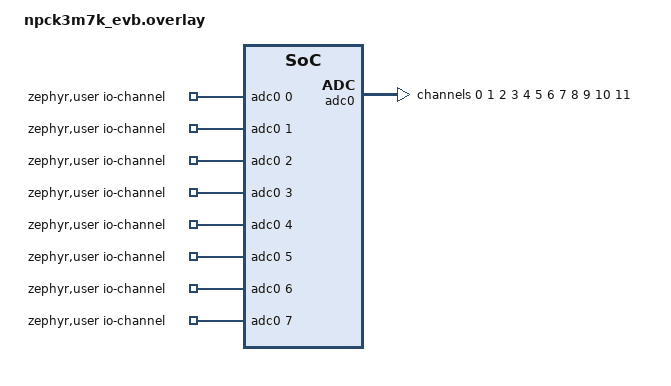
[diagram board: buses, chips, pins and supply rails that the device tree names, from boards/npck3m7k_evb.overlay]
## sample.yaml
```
sample:
  description: ADC sample, the simplest Zephyr application
  name: ADC
common:
    tags: introduction
    integration_platforms:
      - npck3m7k_evb/npcx4m8f_evb
    harness: console
    harness_config:
      type: multi_line
      regex:

tests:
  sample.board.npcx_evb:
    tags: adc
    filter: CONFIG_ADC_ASYNC
    harness: console
```

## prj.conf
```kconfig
CONFIG_SERIAL=y
CONFIG_NATIVE_UART_0_ON_STDINOUT=y
CONFIG_PRINTK=y
CONFIG_UART_INTERRUPT_DRIVEN=y
CONFIG_SHELL=y
CONFIG_SHELL_PROMPT_UART="ec:~$ "
CONFIG_LOG=y
CONFIG_EVENTS=y
CONFIG_ADC=y
```

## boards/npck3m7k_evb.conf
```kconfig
# Add your own Kconfig option for npck3m7k_evb here
CONFIG_ADC_ASYNC=y
```

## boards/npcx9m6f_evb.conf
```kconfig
# Add your own Kconfig option for npcx9m6f_evb here
CONFIG_ADC_ASYNC=y
```

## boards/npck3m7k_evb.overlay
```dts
/*
 * Copyright (c) 2023 Nuvoton Technology Corporation.
 *
 * SPDX-License-Identifier: Apache-2.0
 */

/ {
	zephyr,user {
		io-channels = <&adc0 0>, <&adc0 1>, <&adc0 2>, <&adc0 3>, <&adc0 4>, <&adc0 5>,
		              <&adc0 6>, <&adc0 7>, <&adc0 8>, <&adc0 9>, <&adc0 10>, <&adc0 11>;
	};
};



&adc0 {
	#address-cells = <1>;
	#size-cells = <0>;

	status = "okay";
	/* Use adc0 channel 0~11 for 'adc_api' driver tests */
	pinctrl-0 = <&adc0_chan0_gp90
                     &adc0_chan1_gp91
                     &adc0_chan2_gp92
                     &adc0_chan3_gp93
                     &adc0_chan4_gp05
                     &adc0_chan5_gp04
                     &adc0_chan6_gp03
                     &adc0_chan7_gp07
                     &adc0_chan8_gph2
                     &adc0_chan9_gph1
                     &adc0_chan10_gph0
                     &adc0_chan11_gpg7
                     >;
	pinctrl-names = "default";

	channel@0 {
		reg = <0>;
		zephyr,gain = "ADC_GAIN_1";
		zephyr,reference = "ADC_REF_INTERNAL";
		zephyr,vref-mv = <3300>;
		zephyr,acquisition-time = <ADC_ACQ_TIME_DEFAULT>;
		zephyr,resolution = <10>;
	};
	channel@1 {
		reg = <1>;
		zephyr,gain = "ADC_GAIN_1";
		zephyr,reference = "ADC_REF_INTERNAL";
		zephyr,vref-mv = <3300>;
		zephyr,acquisition-time = <ADC_ACQ_TIME_DEFAULT>;
		zephyr,resolution = <10>;
	};
	channel@2 {
		reg = <2>;
		zephyr,gain = "ADC_GAIN_1";
		zephyr,reference = "ADC_REF_INTERNAL";
		zephyr,vref-mv = <3300>;
		zephyr,acquisition-time = <ADC_ACQ_TIME_DEFAULT>;
		zephyr,resolution = <10>;
	};
	channel@3 {
		reg = <3>;
		zephyr,gain = "ADC_GAIN_1";
		zephyr,reference = "ADC_REF_INTERNAL";
		zephyr,vref-mv = <3300>;
		zephyr,acquisition-time = <ADC_ACQ_TIME_DEFAULT>;
		zephyr,resolution = <10>;
	};
	channel@4 {
		reg = <4>;
		zephyr,gain = "ADC_GAIN_1";
		zephyr,reference = "ADC_REF_INTERNAL";
		zephyr,vref-mv = <3300>;
		zephyr,acquisition-time = <ADC_ACQ_TIME_DEFAULT>;
		zephyr,resolution = <10>;
	};
	channel@5 {
		reg = <5>;
		zephyr,gain = "ADC_GAIN_1";
		zephyr,reference = "ADC_REF_INTERNAL";
		zephyr,vref-mv = <3300>;
		zephyr,acquisition-time = <ADC_ACQ_TIME_DEFAULT>;
		zephyr,resolution = <10>;
	};
	channel@6 {
		reg = <6>;
		zephyr,gain = "ADC_GAIN_1";
		zephyr,reference = "ADC_REF_INTERNAL";
		zephyr,vref-mv = <3300>;
		zephyr,acquisition-time = <ADC_ACQ_TIME_DEFAULT>;
		zephyr,resolution = <10>;
	};
	channel@7 {
		reg = <7>;
		zephyr,gain = "ADC_GAIN_1";
		zephyr,reference = "ADC_REF_INTERNAL";
		zephyr,vref-mv = <3300>;
		zephyr,acquisition-time = <ADC_ACQ_TIME_DEFAULT>;
		zephyr,resolution = <10>;
	};
	channel@8 {
		reg = <8>;
		zephyr,gain = "ADC_GAIN_1";
		zephyr,reference = "ADC_REF_INTERNAL";
		zephyr,vref-mv = <3300>;
		zephyr,acquisition-time = <ADC_ACQ_TIME_DEFAULT>;
		zephyr,resolution = <10>;
	};
	channel@9 {
		reg = <9>;
		zephyr,gain = "ADC_GAIN_1";
		zephyr,reference = "ADC_REF_INTERNAL";
		zephyr,vref-mv = <3300>;
		zephyr,acquisition-time = <ADC_ACQ_TIME_DEFAULT>;
		zephyr,resolution = <10>;
	};
	channel@a {
		reg = <10>;
		zephyr,gain = "ADC_GAIN_1";
		zephyr,reference = "ADC_REF_INTERNAL";
		zephyr,vref-mv = <3300>;
		zephyr,acquisition-time = <ADC_ACQ_TIME_DEFAULT>;
		zephyr,resolution = <10>;
	};
	channel@b {
		reg = <11>;
		zephyr,gain = "ADC_GAIN_1";
		zephyr,reference = "ADC_REF_INTERNAL";
		zephyr,vref-mv = <3300>;
		zephyr,acquisition-time = <ADC_ACQ_TIME_DEFAULT>;
		zephyr,resolution = <10>;
	};
};
```

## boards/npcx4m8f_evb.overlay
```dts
/*
 * Copyright (c) 2023 Nuvoton Technology Corporation.
 *
 * SPDX-License-Identifier: Apache-2.0
 */

/ {
	chosen {
		zephyr,shell-uart = &uart1;
	};
};


/ {
	zephyr,user {
		io-channels =<&adc0 0>,  <&adc0 1>,  <&adc0 2>,  <&adc0 3>,  <&adc0 4>,  <&adc0 5>,
		             <&adc0 6>,  <&adc0 7>,  <&adc0 8>,  <&adc0 9>,  <&adc0 10>, <&adc0 11>,
		             <&adc0 12>, <&adc0 13>, <&adc1 14>, <&adc1 15>, <&adc1 16>, <&adc1 17>,
		             <&adc1 18>, <&adc1 19>, <&adc1 20>, <&adc1 21>, <&adc1 22>, <&adc1 23>,
		             <&adc1 24>, <&adc1 25>;
	};
};


&adc0 {
	#address-cells = <1>;
	#size-cells = <0>;

	status = "okay";
	/* Use adc0 channel 0 ~ 13 for 'adc_api' driver tests */
	pinctrl-0 = <&adc0_chan0_gp45
				&adc0_chan1_gp44
				&adc0_chan2_gp43
				&adc0_chan3_gp42
				&adc0_chan4_gp41
				&adc0_chan5_gp37
				&adc0_chan6_gp34
				&adc0_chan7_gpe1
				&adc0_chan8_gpf1
				&adc0_chan9_gpf0
				&adc0_chan10_gpe0
				&adc0_chan11_gpc7
				&adc0_chan12_gp24
				&adc0_chan13_gp26
	>;

	pinctrl-names = "default";

	channel@0 {
		reg = <0>;
		zephyr,gain = "ADC_GAIN_1";
		zephyr,reference = "ADC_REF_INTERNAL";
		zephyr,vref-mv = <2816>;
		zephyr,acquisition-time = <ADC_ACQ_TIME_DEFAULT>;
		zephyr,resolution = <10>;
	};
	channel@1 {
		reg = <1>;
		zephyr,gain = "ADC_GAIN_1";
		zephyr,reference = "ADC_REF_INTERNAL";
		zephyr,vref-mv = <2816>;
		zephyr,acquisition-time = <ADC_ACQ_TIME_DEFAULT>;
		zephyr,resolution = <10>;
	};
	channel@2 {
		reg = <2>;
		zephyr,gain = "ADC_GAIN_1";
		zephyr,reference = "ADC_REF_INTERNAL";
		zephyr,vref-mv = <2816>;
		zephyr,acquisition-time = <ADC_ACQ_TIME_DEFAULT>;
		zephyr,resolution = <10>;
	};
	channel@3 {
		reg = <3>;
		zephyr,gain = "ADC_GAIN_1";
		zephyr,reference = "ADC_REF_INTERNAL";
		zephyr,vref-mv = <2816>;
		zephyr,acquisition-time = <ADC_ACQ_TIME_DEFAULT>;
		zephyr,resolution = <10>;
	};
	channel@4 {
		reg = <4>;
		zephyr,gain = "ADC_GAIN_1";
		zephyr,reference = "ADC_REF_INTERNAL";
		zephyr,vref-mv = <2816>;
		zephyr,acquisition-time = <ADC_ACQ_TIME_DEFAULT>;
		zephyr,resolution = <10>;
	};
	channel@5 {
		reg = <5>;
		zephyr,gain = "ADC_GAIN_1";
		zephyr,reference = "ADC_REF_INTERNAL";
		zephyr,vref-mv = <2816>;
		zephyr,acquisition-time = <ADC_ACQ_TIME_DEFAULT>;
		zephyr,resolution = <10>;
	};
	channel@6 {
		reg = <6>;
		zephyr,gain = "ADC_GAIN_1";
		zephyr,reference = "ADC_REF_INTERNAL";
		zephyr,vref-mv = <2816>;
		zephyr,acquisition-time = <ADC_ACQ_TIME_DEFAULT>;
		zephyr,resolution = <10>;
	};
	channel@7 {
		reg = <7>;
		zephyr,gain = "ADC_GAIN_1";
		zephyr,reference = "ADC_REF_INTERNAL";
		zephyr,vref-mv = <2816>;
		zephyr,acquisition-time = <ADC_ACQ_TIME_DEFAULT>;
		zephyr,resolution = <10>;
	};
	channel@8 {
		reg = <8>;
		zephyr,gain = "ADC_GAIN_1";
		zephyr,reference = "ADC_REF_INTERNAL";
		zephyr,vref-mv = <2816>;
		zephyr,acquisition-time = <ADC_ACQ_TIME_DEFAULT>;
		zephyr,resolution = <10>;
	};
	channel@9 {
		reg = <9>;
		zephyr,gain = "ADC_GAIN_1";
		zephyr,reference = "ADC_REF_INTERNAL";
		zephyr,vref-mv = <2816>;
		zephyr,acquisition-time = <ADC_ACQ_TIME_DEFAULT>;
		zephyr,resolution = <10>;
	};
	channel@a {
		reg = <10>;
		zephyr,gain = "ADC_GAIN_1";
		zephyr,reference = "ADC_REF_INTERNAL";
		zephyr,vref-mv = <2816>;
		zephyr,acquisition-time = <ADC_ACQ_TIME_DEFAULT>;
		zephyr,resolution = <10>;
	};
	channel@b {
		reg = <11>;
		zephyr,gain = "ADC_GAIN_1";
		zephyr,reference = "ADC_REF_INTERNAL";
		zephyr,vref-mv = <2816>;
		zephyr,acquisition-time = <ADC_ACQ_TIME_DEFAULT>;
		zephyr,resolution = <10>;
	};
	channel@c {
		reg = <12>;
		zephyr,gain = "ADC_GAIN_1";
		zephyr,reference = "ADC_REF_INTERNAL";
		zephyr,vref-mv = <2816>;
		zephyr,acquisition-time = <ADC_ACQ_TIME_DEFAULT>;
		zephyr,resolution = <10>;
	};
	channel@d {
		reg = <13>;
		zephyr,gain = "ADC_GAIN_1";
		zephyr,reference = "ADC_REF_INTERNAL";
		zephyr,vref-mv = <2816>;
		zephyr,acquisition-time = <ADC_ACQ_TIME_DEFAULT>;
		zephyr,resolution = <10>;
	};
};



&adc1 {
	#address-cells = <1>;
	#size-cells = <0>;

	status = "okay";
	/* Use adc1 channel 14 ~ 25 for 'adc_api' driver tests */
	pinctrl-0 = <&adc0_chan14_gp27
		     &adc0_chan15_gp31
		     &adc0_chan16_gp62
		     &adc0_chan17_gp63
		     &adc0_chan18_gp67
		     &adc0_chan19_gp70
		     &adc0_chan20_gp22
		     &adc0_chan21_gp23
		     &adc0_chan22_gpc1
		     &adc0_chan23_gp74
		     &adc0_chan24_gp25
		     &adc0_chan25_gp30
	>;

	pinctrl-names = "default";

	channel@e {
		reg = <14>;
		zephyr,gain = "ADC_GAIN_1";
		zephyr,reference = "ADC_REF_INTERNAL";
		zephyr,vref-mv = <3300>;
		zephyr,acquisition-time = <ADC_ACQ_TIME_DEFAULT>;
		zephyr,resolution = <10>;
	};
	channel@f {
		reg = <15>;
		zephyr,gain = "ADC_GAIN_1";
		zephyr,reference = "ADC_REF_INTERNAL";
		zephyr,vref-mv = <3300>;
		zephyr,acquisition-time = <ADC_ACQ_TIME_DEFAULT>;
		zephyr,resolution = <10>;
	};
	channel@10 {
		reg = <16>;
		zephyr,gain = "ADC_GAIN_1";
		zephyr,reference = "ADC_REF_INTERNAL";
		zephyr,vref-mv = <3300>;
		zephyr,acquisition-time = <ADC_ACQ_TIME_DEFAULT>;
		zephyr,resolution = <10>;
	};
	channel@11 {
		reg = <17>;
		zephyr,gain = "ADC_GAIN_1";
		zephyr,reference = "ADC_REF_INTERNAL";
		zephyr,vref-mv = <3300>;
		zephyr,acquisition-time = <ADC_ACQ_TIME_DEFAULT>;
		zephyr,resolution = <10>;
	};
	channel@12 {
		reg = <18>;
		zephyr,gain = "ADC_GAIN_1";
		zephyr,reference = "ADC_REF_INTERNAL";
		zephyr,vref-mv = <3300>;
		zephyr,acquisition-time = <ADC_ACQ_TIME_DEFAULT>;
		zephyr,resolution = <10>;
	};
	channel@13 {
		reg = <19>;
		zephyr,gain = "ADC_GAIN_1";
		zephyr,reference = "ADC_REF_INTERNAL";
		zephyr,vref-mv = <3300>;
		zephyr,acquisition-time = <ADC_ACQ_TIME_DEFAULT>;
		zephyr,resolution = <10>;
	};
	channel@14 {
		reg = <20>;
		zephyr,gain = "ADC_GAIN_1";
		zephyr,reference = "ADC_REF_INTERNAL";
		zephyr,vref-mv = <3300>;
		zephyr,acquisition-time = <ADC_ACQ_TIME_DEFAULT>;
		zephyr,resolution = <10>;
	};
	channel@15 {
		reg = <21>;
		zephyr,gain = "ADC_GAIN_1";
		zephyr,reference = "ADC_REF_INTERNAL";
		zephyr,vref-mv = <3300>;
		zephyr,acquisition-time = <ADC_ACQ_TIME_DEFAULT>;
		zephyr,resolution = <10>;
	};
	channel@16 {
		reg = <22>;
		zephyr,gain = "ADC_GAIN_1";
		zephyr,reference = "ADC_REF_INTERNAL";
		zephyr,vref-mv = <3300>;
		zephyr,acquisition-time = <ADC_ACQ_TIME_DEFAULT>;
		zephyr,resolution = <10>;
	};
	channel@17 {
		reg = <23>;
		zephyr,gain = "ADC_GAIN_1";
		zephyr,reference = "ADC_REF_INTERNAL";
		zephyr,vref-mv = <3300>;
		zephyr,acquisition-time = <ADC_ACQ_TIME_DEFAULT>;
		zephyr,resolution = <10>;
	};
	channel@18 {
		reg = <24>;
		zephyr,gain = "ADC_GAIN_1";
		zephyr,reference = "ADC_REF_INTERNAL";
		zephyr,vref-mv = <3300>;
		zephyr,acquisition-time = <ADC_ACQ_TIME_DEFAULT>;
		zephyr,resolution = <10>;
	};
	channel@19 {
		reg = <25>;
		zephyr,gain = "ADC_GAIN_1";
		zephyr,reference = "ADC_REF_INTERNAL";
		zephyr,vref-mv = <3300>;
		zephyr,acquisition-time = <ADC_ACQ_TIME_DEFAULT>;
		zephyr,resolution = <10>;
	};
};
```

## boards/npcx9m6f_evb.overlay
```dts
/*
 * Copyright (c) 2023 Nuvoton Technology Corporation.
 *
 * SPDX-License-Identifier: Apache-2.0
 */

/ {
	chosen {
		zephyr,shell-uart = &uart1;
	};
};


/ {
	zephyr,user {
		io-channels =<&adc0 0>,  <&adc0 1>,  <&adc0 2>,  <&adc0 3>,  <&adc0 4>,  <&adc0 5>,
		             <&adc0 6>,  <&adc0 7>,  <&adc0 8>,  <&adc0 9>,  <&adc0 10>, <&adc0 11>;
	};
};


&adc0 {
	#address-cells = <1>;
	#size-cells = <0>;

	status = "okay";
	/* Use adc0 channel 0 ~ 11 for 'adc_api' driver tests */
	pinctrl-0 = <&adc0_chan0_gp45
		     &adc0_chan1_gp44
		     &adc0_chan2_gp43
		     &adc0_chan3_gp42
		     &adc0_chan4_gp41
		     &adc0_chan5_gp37
		     &adc0_chan6_gp34
		     &adc0_chan7_gpe1
		     &adc0_chan8_gpf1
		     &adc0_chan9_gpf0
		     &adc0_chan10_gpe0
		     &adc0_chan11_gpc7
	>;

	pinctrl-names = "default";

	channel@0 {
		reg = <0>;
		zephyr,gain = "ADC_GAIN_1";
		zephyr,reference = "ADC_REF_INTERNAL";
		zephyr,vref-mv = <2816>;
		zephyr,acquisition-time = <ADC_ACQ_TIME_DEFAULT>;
		zephyr,resolution = <10>;
	};
	channel@1 {
		reg = <1>;
		zephyr,gain = "ADC_GAIN_1";
		zephyr,reference = "ADC_REF_INTERNAL";
		zephyr,vref-mv = <2816>;
		zephyr,acquisition-time = <ADC_ACQ_TIME_DEFAULT>;
		zephyr,resolution = <10>;
	};
	channel@2 {
		reg = <2>;
		zephyr,gain = "ADC_GAIN_1";
		zephyr,reference = "ADC_REF_INTERNAL";
		zephyr,vref-mv = <2816>;
		zephyr,acquisition-time = <ADC_ACQ_TIME_DEFAULT>;
		zephyr,resolution = <10>;
	};
	channel@3 {
		reg = <3>;
		zephyr,gain = "ADC_GAIN_1";
		zephyr,reference = "ADC_REF_INTERNAL";
		zephyr,vref-mv = <2816>;
		zephyr,acquisition-time = <ADC_ACQ_TIME_DEFAULT>;
		zephyr,resolution = <10>;
	};
	channel@4 {
		reg = <4>;
		zephyr,gain = "ADC_GAIN_1";
		zephyr,reference = "ADC_REF_INTERNAL";
		zephyr,vref-mv = <2816>;
		zephyr,acquisition-time = <ADC_ACQ_TIME_DEFAULT>;
		zephyr,resolution = <10>;
	};
	channel@5 {
		reg = <5>;
		zephyr,gain = "ADC_GAIN_1";
		zephyr,reference = "ADC_REF_INTERNAL";
		zephyr,vref-mv = <2816>;
		zephyr,acquisition-time = <ADC_ACQ_TIME_DEFAULT>;
		zephyr,resolution = <10>;
	};
	channel@6 {
		reg = <6>;
		zephyr,gain = "ADC_GAIN_1";
		zephyr,reference = "ADC_REF_INTERNAL";
		zephyr,vref-mv = <2816>;
		zephyr,acquisition-time = <ADC_ACQ_TIME_DEFAULT>;
		zephyr,resolution = <10>;
	};
	channel@7 {
		reg = <7>;
		zephyr,gain = "ADC_GAIN_1";
		zephyr,reference = "ADC_REF_INTERNAL";
		zephyr,vref-mv = <2816>;
		zephyr,acquisition-time = <ADC_ACQ_TIME_DEFAULT>;
		zephyr,resolution = <10>;
	};
	channel@8 {
		reg = <8>;
		zephyr,gain = "ADC_GAIN_1";
		zephyr,reference = "ADC_REF_INTERNAL";
		zephyr,vref-mv = <2816>;
		zephyr,acquisition-time = <ADC_ACQ_TIME_DEFAULT>;
		zephyr,resolution = <10>;
	};
	channel@9 {
		reg = <9>;
		zephyr,gain = "ADC_GAIN_1";
		zephyr,reference = "ADC_REF_INTERNAL";
		zephyr,vref-mv = <2816>;
		zephyr,acquisition-time = <ADC_ACQ_TIME_DEFAULT>;
		zephyr,resolution = <10>;
	};
	channel@a {
		reg = <10>;
		zephyr,gain = "ADC_GAIN_1";
		zephyr,reference = "ADC_REF_INTERNAL";
		zephyr,vref-mv = <2816>;
		zephyr,acquisition-time = <ADC_ACQ_TIME_DEFAULT>;
		zephyr,resolution = <10>;
	};
	channel@b {
		reg = <11>;
		zephyr,gain = "ADC_GAIN_1";
		zephyr,reference = "ADC_REF_INTERNAL";
		zephyr,vref-mv = <2816>;
		zephyr,acquisition-time = <ADC_ACQ_TIME_DEFAULT>;
		zephyr,resolution = <10>;
	};
};
```

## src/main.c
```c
/*
 * Copyright (c) 2012-2014 Wind River Systems, Inc.
 *
 * SPDX-License-Identifier: Apache-2.0
 */
#include <stdlib.h>
#include <zephyr/device.h>
#include <zephyr/drivers/adc.h>
#include <zephyr/kernel.h>
#include <zephyr/shell/shell.h>

#define LOG_LEVEL LOG_LEVEL_INF
#include <zephyr/logging/log.h>
LOG_MODULE_REGISTER(main);

#define DT_SPEC_AND_COMMA(node_id, prop, idx)                                  \
	ADC_DT_SPEC_GET_BY_IDX(node_id, idx),
#define TASK_STACK_SIZE 1024
#define PRIORITY 7
#define MAX_ARGUMNETS 3
#define MAX_ARGU_SIZE 10
#define ADC_3300VFS_ACCURACY 25
#define ADC_2816VFS_ACCURACY_RANGE_LOW 20
#define ADC_2816VFS_ACCURACY_RANGE_HIGH 30
#define ADC_VOLTAGE_REFERENCE_3300 3300
#define ADC_VOLTAGE_REFERENCE_2816 2816

static struct k_thread temp_id;
K_THREAD_STACK_DEFINE(temp_stack, TASK_STACK_SIZE);

static uint8_t arguments[MAX_ARGUMNETS][MAX_ARGU_SIZE];

struct k_event adc_event;

/* Data of ADC io-channels specified in devicetree. */
static const struct adc_dt_spec adc_channels[] = {
	DT_FOREACH_PROP_ELEM(DT_PATH(zephyr_user), io_channels, DT_SPEC_AND_COMMA)};

int16_t buf;
int ret;

static int adc_init(void)
{
	int err;
	/* Configure channels individually prior to sampling. */
	for (size_t i = 0U; i < ARRAY_SIZE(adc_channels); i++) {
		if (!device_is_ready(adc_channels[i].dev)) {
			LOG_INF("ADC controller device %s not ready\n",
				adc_channels[i].dev->name);
			return 0;
		}

		err = adc_channel_setup_dt(&adc_channels[i]);
		if (err < 0) {
			LOG_INF("Could not setup channel #%d (%d)\n", i, err);
			return 0;
		}
		LOG_INF("%s ADC channel %d\n", adc_channels[i].dev->name,
			adc_channels[i].channel_id);
	}
	return 1;
}

static void adc_read_func(char *channel)
{
	int i;

	i = atoi(channel);

	struct adc_sequence sequence = {
		.buffer = &buf,
		.buffer_size = sizeof(buf),
	};

	ret = adc_sequence_init_dt(&adc_channels[i], &sequence);
	if (ret) {
		LOG_INF("[FAIL] ADC sequence init\n");
	}

	ret = adc_read(adc_channels[i].dev, &sequence);
	if (ret) {
		LOG_INF("[FAIL] ADC module read\n");
	}

	LOG_INF("%s ADC channel %d\n", adc_channels[i].dev->name,
		adc_channels[i].channel_id);
	LOG_INF("Sample value: %x\n", buf);
}

#ifdef CONFIG_ADC_ASYNC
static void adc_read_async_all(void)
{
	struct adc_sequence sequence = {
		.buffer = &buf,
		.buffer_size = sizeof(buf),
	};

	for (size_t i = 0U; i < ARRAY_SIZE(adc_channels); i++) {
		ret = adc_sequence_init_dt(&adc_channels[i], &sequence);
		if (ret) {
			LOG_INF("[FAIL] ADC sequence init\n");
		}

		ret = adc_read_async(adc_channels[i].dev, &sequence, NULL);

		if (ret) {
			LOG_INF("[FAIL] ADC module read\n");
		}

		LOG_INF("%s ADC channel %d\n", adc_channels[i].dev->name,
			adc_channels[i].channel_id);
		LOG_INF("Sample value: %x\n", buf);
	}
}
#endif

static void adc_read_read_all(void)
{
	struct adc_sequence sequence = {
		.buffer = &buf,
		.buffer_size = sizeof(buf),
	};

	for (size_t i = 0U; i < ARRAY_SIZE(adc_channels); i++) {
		ret = adc_sequence_init_dt(&adc_channels[i], &sequence);
		if (ret) {
			LOG_INF("[FAIL] ADC sequence init\n");
		}

		ret = adc_read(adc_channels[i].dev, &sequence);
		if (ret) {
			LOG_INF("[FAIL] ADC module read\n");
		}

		LOG_INF("%s ADC channel %d\n", adc_channels[i].dev->name,
			adc_channels[i].channel_id);
		LOG_INF("Sample value %x\n", buf);
	}
}


static void adc_check_conversion_result(char *input, char *channel)
{
	int ch;
	int err;
	int input_signal;
	int32_t vref_mv;
	int32_t ch_dat;

	ch = atoi(channel);

	/* input voltage */
	input_signal = atoi(input);

	/* channel data */
	ch_dat = (int32_t)buf;

	/* voltage reference */
	vref_mv = adc_channels[ch].vref_mv;
	if (vref_mv < input_signal) {
		LOG_INF("[FAIL] Test voltage is not available\n");
	}

	err = adc_raw_to_millivolts_dt(&adc_channels[ch], &ch_dat);

	/* conversion to mV may not be supported, skip if not */
	if (err < 0) {
		LOG_INF("[FAIL] value in mV not available\n");
	}

	LOG_INF(" %s\n", adc_channels[ch].dev->name);

	if (vref_mv == ADC_VOLTAGE_REFERENCE_3300) {
		if ((ch_dat <= (input_signal + ADC_3300VFS_ACCURACY)) &&
		    (ch_dat >= (input_signal - ADC_3300VFS_ACCURACY))) {
			LOG_INF("[PASS]Vref 3300, ADC%d Vi: %d\n", ch,
			adc_channels[ch].channel_id);
		} else {
			LOG_INF("[FAIL]Vref 3300, ADC%d Vi: %d\n", ch,
			adc_channels[ch].channel_id);
		}
	} else if (vref_mv == ADC_VOLTAGE_REFERENCE_2816) {
		if ((ch_dat <= (input_signal + ADC_2816VFS_ACCURACY_RANGE_HIGH)) &&
			(ch_dat >= (input_signal - ADC_2816VFS_ACCURACY_RANGE_HIGH))) {
			LOG_INF("[PASS]Vref 2816, ADC%d Vi: %d\n", ch,
			adc_channels[ch].channel_id);
		} else {
			LOG_INF("[FAIL]Vref 2816, ADC%d Vi: %d\n", ch,
			adc_channels[ch].channel_id);
		}
	}

}

static void adc_validation_func(void *dummy1, void *dummy2, void *dummy3)
{
	uint32_t events;

	k_event_init(&adc_event);

	LOG_INF("ADC module hook success\n");
	while (true) {
		events = k_event_wait(&adc_event, 0xFFF, true, K_FOREVER);
		switch (events) {
		case 0x001: /* no argu */
			break;
		case 0x002:
			if (!strcmp("init", arguments[0])) {
				LOG_INF("ADC module init\n");
				adc_init();
			}
#ifdef CONFIG_ADC_ASYNC
			if (!strcmp("async", arguments[0])) {
				LOG_INF("Test async\n");
				adc_read_async_all();
			}
	#endif
			if (!strcmp("all", arguments[0])) {
				LOG_INF("Test read all channel\n");
				adc_read_read_all();
			}
			break;
		case 0x004:
			if (!strcmp("read", arguments[0])) {
				adc_read_func(arguments[1]);
			}

			if (!strcmp("3300", arguments[0])) {
				adc_read_func(arguments[1]);
				adc_check_conversion_result(arguments[0], arguments[1]);
			}
			if (!strcmp("2816", arguments[0])) {
				adc_read_func(arguments[1]);
				adc_check_conversion_result(arguments[0], arguments[1]);
			}
			if (!strcmp("1800", arguments[0])) {
				adc_read_func(arguments[1]);
				adc_check_conversion_result(arguments[0], arguments[1]);
			}
			break;
		default:
			LOG_INF("Error command\n");
		}
	}
}

int main(void)
{
	/* Zephyr driver validation */
	LOG_INF("Start ADC Validation Task\n");
	k_thread_create(&temp_id, temp_stack, TASK_STACK_SIZE, adc_validation_func,
		NULL, NULL, NULL, PRIORITY, K_INHERIT_PERMS, K_FOREVER);
	k_thread_name_set(&temp_id, "ADC Validation");
	k_thread_start(&temp_id);

	return 0;
}

static int adc_command(const struct shell *shell, size_t argc, char **argv)
{
	int i, evt;

	evt = 1;
	for (evt = 1, i = 1; i < argc; i++) {
		strcpy(arguments[i - 1], argv[i]);
		evt <<= 1;
	}
	k_event_post(&adc_event, evt);
	return 0;
}

SHELL_STATIC_SUBCMD_SET_CREATE(
	sub_adc, SHELL_CMD_ARG(c0, NULL, "adc c0", adc_command, 1, 0),
	SHELL_CMD_ARG(c1, NULL, "adc c1 arg0", adc_command, 2, 0),
	SHELL_CMD_ARG(c2, NULL, "adc c2 arg0 arg1", adc_command, 3, 0),
	SHELL_CMD_ARG(cfg, NULL, "adc cfg arg0 arg1 arg2", adc_command, 4, 0),
	SHELL_SUBCMD_SET_END /* Array terminated. */
);
SHELL_CMD_REGISTER(adc, &sub_adc, "nuvoton adc validation", NULL);
```
